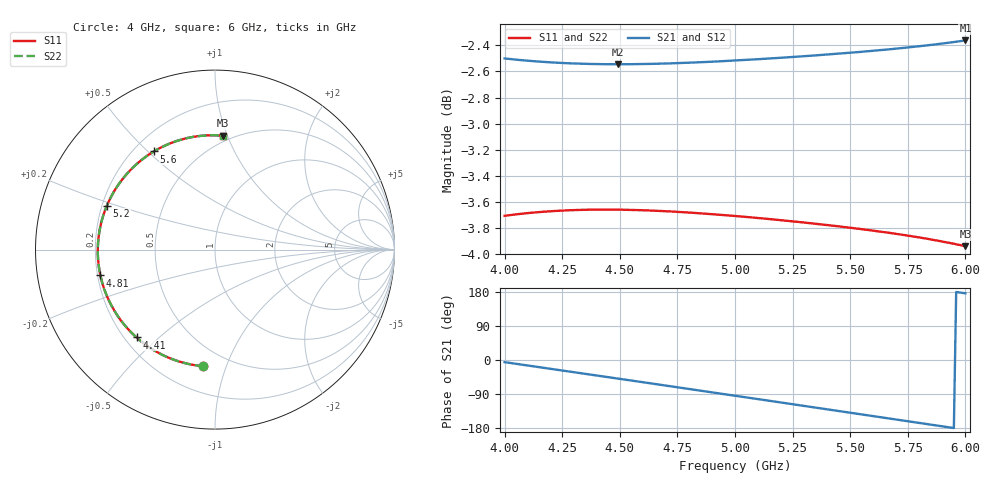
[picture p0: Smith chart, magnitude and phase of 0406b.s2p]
!freq-unit  param-type  data-format  keyword  impedance-ohms
# GHZ  S  RI  R  50
!Freq  ReS11  ImS11  ReS21  ImS21  ReS12  ImS12  ReS22  ImS22
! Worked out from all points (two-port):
!   201 points, 4 GHz to 6 GHz, reference 50 ohm
!   highest |S21| = -2.36 dB at 6 GHz (marker M1); lowest = -2.5 dB at 4.49 GHz (marker M2)
!   |S21| within 3 dB of the highest: start of sweep to end of sweep
!   lowest |S11| = -3.9 dB at 6 GHz (marker M3), VSWR 4.49, Z = 22.7 + j48.2 ohm
!   |S11| at or under -10 dB: nowhere
!   |S22| runs from -3.9 to -3.7 dB; largest |S21 - S12| = 0
!   S11 on the Smith chart (normalised r, x): 4 GHz: 0.37, -0.84; 4.41 GHz: 0.25, -0.42; 4.81 GHz: 0.21, -0.11; 5.2 GHz: 0.22, +0.19; 5.6 GHz: 0.28, +0.52; 6 GHz: 0.45, +0.96
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4  -0.0646 -0.6495  0.7462 -0.0741  0.7462 -0.0741  -0.0646 -0.6495
4.09  -0.1536 -0.6359  0.7276 -0.1756  0.7276 -0.1756  -0.1536 -0.6359
4.17  -0.2306 -0.6132  0.6997 -0.263  0.6997 -0.263  -0.2306 -0.6132
4.25  -0.3043 -0.5809  0.6616 -0.3465  0.6616 -0.3465  -0.3043 -0.5809
4.34  -0.3818 -0.5337  0.607 -0.4342  0.607 -0.4342  -0.3818 -0.5337
4.41  -0.4371 -0.4895  0.5565 -0.4969  0.5565 -0.4969  -0.4371 -0.4895
4.49  -0.4941 -0.4319  0.491 -0.5616  0.491 -0.5616  -0.4941 -0.4319
4.58  -0.549 -0.3591  0.4083 -0.6244  0.4083 -0.6244  -0.549 -0.3591
4.67  -0.5932 -0.279  0.3177 -0.6754  0.3177 -0.6754  -0.5932 -0.279
4.81  -0.6384 -0.1442  0.1645 -0.7287  0.1645 -0.7287  -0.6384 -0.1442
4.9  -0.6515 -0.0535  0.0611 -0.7452  0.0611 -0.7452  -0.6515 -0.0535
5  -0.6508 0.0483  -0.0555 -0.7464  -0.0555 -0.7464  -0.6508 0.0483
5.1  -0.6343 0.1487  -0.1712 -0.7295  -0.1712 -0.7295  -0.6343 0.1487
5.2  -0.6022 0.2453  -0.2831 -0.6948  -0.2831 -0.6948  -0.6022 0.2453
5.34  -0.5328 0.3694  -0.4284 -0.6177  -0.4284 -0.6177  -0.5328 0.3694
5.47  -0.4456 0.4682  -0.5457 -0.5192  -0.5457 -0.5192  -0.4456 0.4682
5.6  -0.3405 0.5469  -0.641 -0.3988  -0.641 -0.3988  -0.3405 0.5469
5.67  -0.2779 0.5798  -0.6817 -0.3266  -0.6817 -0.3266  -0.2779 0.5798
5.76  -0.193 0.6115  -0.7222 -0.2278  -0.7222 -0.2278  -0.193 0.6115
5.84  -0.1147 0.6291  -0.7464 -0.1359  -0.7464 -0.1359  -0.1147 0.6291
5.92  -0.035 0.6366  -0.759 -0.0415  -0.759 -0.0415  -0.035 0.6366
6  0.0447 0.6339  -0.7599 0.0539  -0.7599 0.0539  0.0447 0.6339
